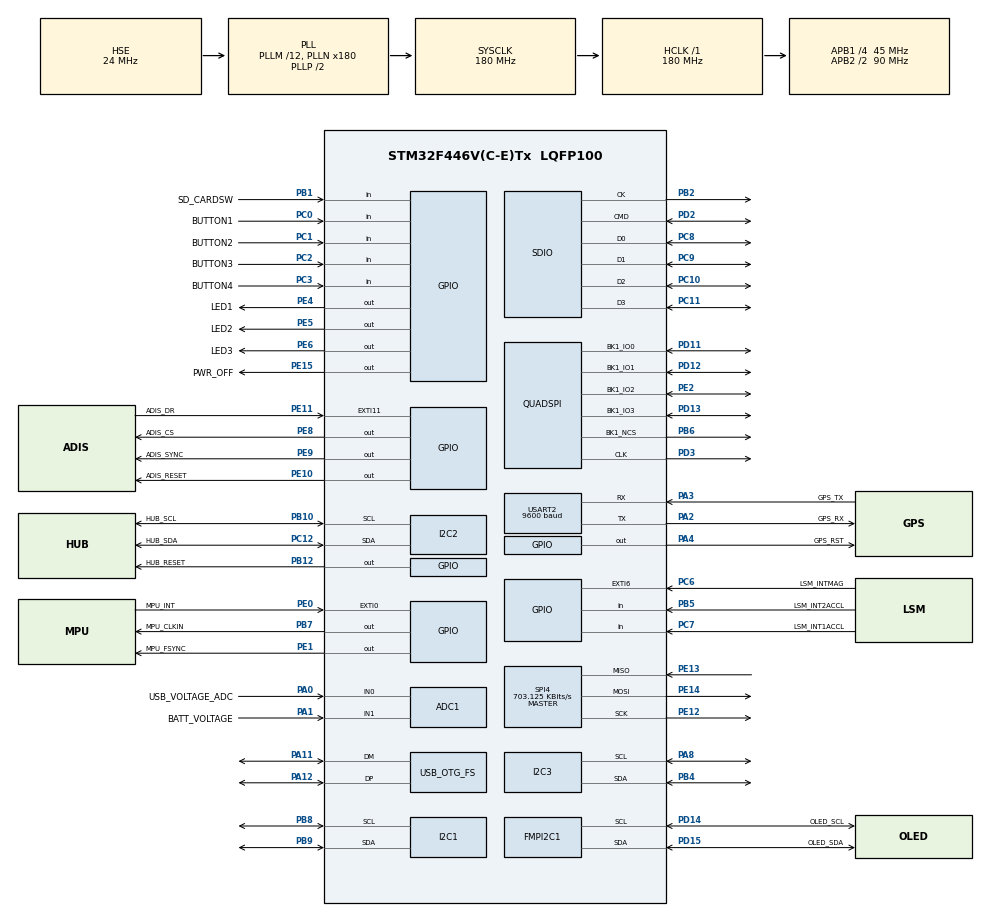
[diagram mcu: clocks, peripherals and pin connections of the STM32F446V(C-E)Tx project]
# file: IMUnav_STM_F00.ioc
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ADC1.Channel-0\#ChannelRegularConversion=ADC_CHANNEL_0
ADC1.Channel-1\#ChannelRegularConversion=ADC_CHANNEL_1
ADC1.Channel-2\#ChannelRegularConversion=ADC_CHANNEL_TEMPSENSOR
ADC1.Channel-3\#ChannelRegularConversion=ADC_CHANNEL_VREFINT
ADC1.ClockPrescaler=ADC_CLOCK_SYNC_PCLK_DIV8
ADC1.ContinuousConvMode=DISABLE
ADC1.DMAContinuousRequests=ENABLE
ADC1.EOCSelection=ADC_EOC_SEQ_CONV
ADC1.InjNumberOfConversion=0
ADC1.NbrOfConversion=4
ADC1.NbrOfConversionFlag=1
ADC1.Rank-0\#ChannelRegularConversion=1
ADC1.Rank-1\#ChannelRegularConversion=2
ADC1.Rank-2\#ChannelRegularConversion=3
ADC1.Rank-3\#ChannelRegularConversion=4
ADC1.SamplingTime-0\#ChannelRegularConversion=ADC_SAMPLETIME_112CYCLES
ADC1.SamplingTime-1\#ChannelRegularConversion=ADC_SAMPLETIME_112CYCLES
ADC1.SamplingTime-2\#ChannelRegularConversion=ADC_SAMPLETIME_112CYCLES
ADC1.SamplingTime-3\#ChannelRegularConversion=ADC_SAMPLETIME_112CYCLES
ADC1.master=1
Dma.ADC1.0.Direction=DMA_PERIPH_TO_MEMORY
Dma.ADC1.0.FIFOMode=DMA_FIFOMODE_DISABLE
Dma.ADC1.0.Instance=DMA2_Stream4
Dma.ADC1.0.MemDataAlignment=DMA_MDATAALIGN_HALFWORD
Dma.ADC1.0.MemInc=DMA_MINC_ENABLE
Dma.ADC1.0.Mode=DMA_NORMAL
Dma.ADC1.0.PeriphDataAlignment=DMA_PDATAALIGN_HALFWORD
Dma.ADC1.0.PeriphInc=DMA_PINC_DISABLE
Dma.ADC1.0.Priority=DMA_PRIORITY_LOW
Dma.I2C1_RX.9.Direction=DMA_PERIPH_TO_MEMORY
Dma.I2C1_RX.9.FIFOMode=DMA_FIFOMODE_DISABLE
Dma.I2C1_RX.9.Instance=DMA1_Stream0
Dma.I2C1_RX.9.MemDataAlignment=DMA_MDATAALIGN_BYTE
Dma.I2C1_RX.9.MemInc=DMA_MINC_ENABLE
Dma.I2C1_RX.9.Mode=DMA_NORMAL
Dma.I2C1_RX.9.PeriphDataAlignment=DMA_PDATAALIGN_BYTE
Dma.I2C1_RX.9.PeriphInc=DMA_PINC_DISABLE
Dma.I2C1_RX.9.Priority=DMA_PRIORITY_LOW
Dma.I2C1_TX.10.Direction=DMA_MEMORY_TO_PERIPH
Dma.I2C1_TX.10.FIFOMode=DMA_FIFOMODE_DISABLE
Dma.I2C1_TX.10.Instance=DMA1_Stream7
Dma.I2C1_TX.10.MemDataAlignment=DMA_MDATAALIGN_BYTE
Dma.I2C1_TX.10.MemInc=DMA_MINC_ENABLE
Dma.I2C1_TX.10.Mode=DMA_NORMAL
Dma.I2C1_TX.10.PeriphDataAlignment=DMA_PDATAALIGN_BYTE
Dma.I2C1_TX.10.PeriphInc=DMA_PINC_DISABLE
Dma.I2C1_TX.10.Priority=DMA_PRIORITY_LOW
Dma.I2C3_RX.3.Direction=DMA_PERIPH_TO_MEMORY
Dma.I2C3_RX.3.FIFOMode=DMA_FIFOMODE_DISABLE
Dma.I2C3_RX.3.Instance=DMA1_Stream1
Dma.I2C3_RX.3.MemDataAlignment=DMA_MDATAALIGN_BYTE
Dma.I2C3_RX.3.MemInc=DMA_MINC_ENABLE
Dma.I2C3_RX.3.Mode=DMA_NORMAL
Dma.I2C3_RX.3.PeriphDataAlignment=DMA_PDATAALIGN_BYTE
Dma.I2C3_RX.3.PeriphInc=DMA_PINC_DISABLE
Dma.I2C3_RX.3.Priority=DMA_PRIORITY_LOW
Dma.I2C3_TX.4.Direction=DMA_MEMORY_TO_PERIPH
Dma.I2C3_TX.4.FIFOMode=DMA_FIFOMODE_DISABLE
Dma.I2C3_TX.4.Instance=DMA1_Stream4
Dma.I2C3_TX.4.MemDataAlignment=DMA_MDATAALIGN_BYTE
Dma.I2C3_TX.4.MemInc=DMA_MINC_ENABLE
Dma.I2C3_TX.4.Mode=DMA_NORMAL
Dma.I2C3_TX.4.PeriphDataAlignment=DMA_PDATAALIGN_BYTE
Dma.I2C3_TX.4.PeriphInc=DMA_PINC_DISABLE
Dma.I2C3_TX.4.Priority=DMA_PRIORITY_LOW
Dma.Request0=ADC1
Dma.Request1=SPI4_RX
Dma.Request10=I2C1_TX
Dma.Request2=SPI4_TX
Dma.Request3=I2C3_RX
Dma.Request4=I2C3_TX
Dma.Request5=SDIO_RX
Dma.Request6=SDIO_TX
Dma.Request7=USART2_RX
Dma.Request8=USART2_TX
Dma.Request9=I2C1_RX
Dma.SDIO_RX.5.Direction=DMA_PERIPH_TO_MEMORY
Dma.SDIO_RX.5.FIFOMode=DMA_FIFOMODE_ENABLE
Dma.SDIO_RX.5.FIFOThreshold=DMA_FIFO_THRESHOLD_FULL
Dma.SDIO_RX.5.Instance=DMA2_Stream6
Dma.SDIO_RX.5.MemBurst=DMA_MBURST_INC4
Dma.SDIO_RX.5.MemDataAlignment=DMA_MDATAALIGN_WORD
Dma.SDIO_RX.5.MemInc=DMA_MINC_ENABLE
Dma.SDIO_RX.5.Mode=DMA_PFCTRL
Dma.SDIO_RX.5.PeriphBurst=DMA_PBURST_INC4
Dma.SDIO_RX.5.PeriphDataAlignment=DMA_PDATAALIGN_WORD
Dma.SDIO_RX.5.PeriphInc=DMA_PINC_DISABLE
Dma.SDIO_RX.5.Priority=DMA_PRIORITY_MEDIUM
Dma.SDIO_TX.6.Direction=DMA_MEMORY_TO_PERIPH
Dma.SDIO_TX.6.FIFOMode=DMA_FIFOMODE_ENABLE
Dma.SDIO_TX.6.FIFOThreshold=DMA_FIFO_THRESHOLD_FULL
Dma.SDIO_TX.6.Instance=DMA2_Stream3
Dma.SDIO_TX.6.MemBurst=DMA_MBURST_INC4
Dma.SDIO_TX.6.MemDataAlignment=DMA_MDATAALIGN_WORD
Dma.SDIO_TX.6.MemInc=DMA_MINC_ENABLE
Dma.SDIO_TX.6.Mode=DMA_PFCTRL
Dma.SDIO_TX.6.PeriphBurst=DMA_PBURST_INC4
Dma.SDIO_TX.6.PeriphDataAlignment=DMA_PDATAALIGN_WORD
Dma.SDIO_TX.6.PeriphInc=DMA_PINC_DISABLE
Dma.SDIO_TX.6.Priority=DMA_PRIORITY_MEDIUM
Dma.SPI4_RX.1.Direction=DMA_PERIPH_TO_MEMORY
Dma.SPI4_RX.1.FIFOMode=DMA_FIFOMODE_DISABLE
Dma.SPI4_RX.1.Instance=DMA2_Stream0
Dma.SPI4_RX.1.MemDataAlignment=DMA_MDATAALIGN_HALFWORD
Dma.SPI4_RX.1.MemInc=DMA_MINC_ENABLE
Dma.SPI4_RX.1.Mode=DMA_NORMAL
Dma.SPI4_RX.1.PeriphDataAlignment=DMA_PDATAALIGN_HALFWORD
Dma.SPI4_RX.1.PeriphInc=DMA_PINC_DISABLE
Dma.SPI4_RX.1.Priority=DMA_PRIORITY_LOW
Dma.SPI4_TX.2.Direction=DMA_MEMORY_TO_PERIPH
Dma.SPI4_TX.2.FIFOMode=DMA_FIFOMODE_DISABLE
Dma.SPI4_TX.2.Instance=DMA2_Stream1
Dma.SPI4_TX.2.MemDataAlignment=DMA_MDATAALIGN_HALFWORD
Dma.SPI4_TX.2.MemInc=DMA_MINC_ENABLE
Dma.SPI4_TX.2.Mode=DMA_NORMAL
Dma.SPI4_TX.2.PeriphDataAlignment=DMA_PDATAALIGN_HALFWORD
Dma.SPI4_TX.2.PeriphInc=DMA_PINC_DISABLE
Dma.SPI4_TX.2.Priority=DMA_PRIORITY_LOW
Dma.USART2_RX.7.Direction=DMA_PERIPH_TO_MEMORY
Dma.USART2_RX.7.FIFOMode=DMA_FIFOMODE_DISABLE
Dma.USART2_RX.7.Instance=DMA1_Stream5
Dma.USART2_RX.7.MemDataAlignment=DMA_MDATAALIGN_BYTE
Dma.USART2_RX.7.MemInc=DMA_MINC_ENABLE
Dma.USART2_RX.7.Mode=DMA_NORMAL
Dma.USART2_RX.7.PeriphDataAlignment=DMA_PDATAALIGN_BYTE
Dma.USART2_RX.7.PeriphInc=DMA_PINC_DISABLE
Dma.USART2_RX.7.Priority=DMA_PRIORITY_LOW
Dma.USART2_TX.8.Direction=DMA_MEMORY_TO_PERIPH
Dma.USART2_TX.8.FIFOMode=DMA_FIFOMODE_DISABLE
Dma.USART2_TX.8.Instance=DMA1_Stream6
Dma.USART2_TX.8.MemDataAlignment=DMA_MDATAALIGN_BYTE
Dma.USART2_TX.8.MemInc=DMA_MINC_ENABLE
Dma.USART2_TX.8.Mode=DMA_NORMAL
Dma.USART2_TX.8.PeriphDataAlignment=DMA_PDATAALIGN_BYTE
Dma.USART2_TX.8.PeriphInc=DMA_PINC_DISABLE
Dma.USART2_TX.8.Priority=DMA_PRIORITY_LOW
FATFS.BSP.number=1
FATFS0.BSP.STBoard=false
FATFS0.BSP.api=Unknown
FATFS0.BSP.instance=PB1
FATFS0.BSP.ip=GPIO
FATFS0.BSP.mode=Input
FATFS0.BSP.name=Detect_SDIO
FATFS0.BSP.solution=PB1
FMPI2C1.FMPI2C_Speed_Mode=FMPI2C_Fast_Plus
FMPI2C1.Timing=0x0020081B
FREERTOS.HEAP_NUMBER=4
FREERTOS.Queues01=adisQ,4,adisDataStruc,0,Dynamic,NULL,NULL;lsmQ,4,lsmDataStruc,0,Dynamic,NULL,NULL;loggerQ,10,loggerStruc,0,Dynamic,NULL,NULL;mpuQ,4,mpuDataStruc,0,Dynamic,NULL,NULL;gnssQ,16,gnssLoggedDataStruc,0,Dynamic,NULL,NULL
FREERTOS.Tasks01=defaultTask,24,128,StartDefaultTask,Default,NULL,Dynamic,NULL,NULL;keepaliveTask,8,1280,StartKeepaliveTask,Default,NULL,Dynamic,NULL,NULL;hubTask,9,128,StartHubTask,Default,NULL,Dynamic,NULL,NULL;gpsTask,16,256,StartGpsTask,Default,NULL,Dynamic,NULL,NULL;oledTask,24,1024,StartOledTask,Default,NULL,Dynamic,NULL,NULL;powerTask,10,256,StartPowerTask,Default,NULL,Dynamic,NULL,NULL;adisTask,51,256,StartAdisTask,Default,NULL,Dynamic,NULL,NULL;lsmTask,50,256,StartLsmTask,Default,NULL,Dynamic,NULL,NULL;loggerTask,26,512,StartLoggerTask,Default,NULL,Dynamic,NULL,NULL;mpuTask,49,512,StartMpuTask,Default,NULL,Dynamic,NULL,NULL
FREERTOS.configENABLE_FPU=1
FREERTOS.configGENERATE_RUN_TIME_STATS=1
FREERTOS.configRECORD_STACK_HIGH_ADDRESS=1
FREERTOS.configTOTAL_HEAP_SIZE=40000
FREERTOS.configUSE_NEWLIB_REENTRANT=1
FREERTOS.configUSE_STATS_FORMATTING_FUNCTIONS=1
I2C1.I2C_Mode=I2C_Fast
I2C3.I2C_Mode=I2C_Standard
Mcu.Family=STM32F4
Mcu.Name=STM32F446V(C-E)Tx
Mcu.Package=LQFP100
Mcu.UserConstants=adisSPI,$$_SPI4_IP_HANDLE_$$;oledI2C,$$_FMPI2C1_IP_HANDLE_$$;hubI2C,$$_I2C2_IP_HANDLE_$$;analogADC,$$_ADC1_IP_HANDLE_$$;gpsUART,$$_USART2_IP_HANDLE_$$;lsmI2C,$$_I2C3_IP_HANDLE_$$;mpuI2C,hi2c1
NVIC.ADC_IRQn=true\:5\:0\:false\:false\:true\:true\:true\:true\:true
NVIC.DMA1_Stream0_IRQn=true\:5\:0\:false\:false\:true\:true\:false\:true\:true
NVIC.DMA1_Stream1_IRQn=true\:5\:0\:false\:false\:true\:true\:false\:true\:true
NVIC.DMA1_Stream4_IRQn=true\:5\:0\:false\:false\:true\:true\:false\:true\:true
NVIC.DMA1_Stream5_IRQn=true\:5\:0\:false\:false\:true\:true\:false\:true\:true
NVIC.DMA1_Stream6_IRQn=true\:5\:0\:false\:false\:true\:true\:false\:true\:true
NVIC.DMA1_Stream7_IRQn=true\:5\:0\:false\:false\:true\:true\:false\:true\:true
NVIC.DMA2_Stream0_IRQn=true\:5\:0\:false\:false\:true\:true\:false\:true\:true
NVIC.DMA2_Stream1_IRQn=true\:5\:0\:false\:false\:true\:true\:false\:true\:true
NVIC.DMA2_Stream3_IRQn=true\:5\:0\:false\:false\:true\:true\:false\:true\:true
NVIC.DMA2_Stream4_IRQn=true\:5\:0\:false\:false\:true\:true\:false\:true\:true
NVIC.DMA2_Stream6_IRQn=true\:5\:0\:false\:false\:true\:true\:false\:true\:true
NVIC.EXTI0_IRQn=true\:5\:0\:false\:false\:true\:true\:true\:true\:true
NVIC.EXTI15_10_IRQn=true\:5\:0\:false\:false\:true\:true\:true\:true\:true
NVIC.EXTI9_5_IRQn=true\:5\:0\:false\:false\:true\:true\:true\:true\:true
NVIC.FMPI2C1_ER_IRQn=true\:5\:0\:false\:false\:true\:true\:true\:true\:true
NVIC.FMPI2C1_EV_IRQn=true\:5\:0\:false\:false\:true\:true\:true\:true\:true
NVIC.I2C1_EV_IRQn=true\:5\:0\:false\:false\:true\:true\:true\:true\:true
NVIC.I2C2_EV_IRQn=true\:5\:0\:false\:false\:true\:true\:true\:true\:true
NVIC.I2C3_EV_IRQn=true\:5\:0\:false\:false\:true\:true\:true\:true\:true
NVIC.OTG_FS_IRQn=true\:5\:0\:false\:false\:true\:true\:false\:true\:true
NVIC.PriorityGroup=NVIC_PRIORITYGROUP_4
NVIC.SDIO_IRQn=true\:5\:0\:true\:false\:true\:true\:true\:true\:true
NVIC.SPI4_IRQn=true\:5\:0\:false\:false\:true\:true\:true\:true\:true
NVIC.TIM1_TRG_COM_TIM11_IRQn=true\:5\:0\:false\:false\:true\:true\:true\:true\:true
NVIC.TIM8_UP_TIM13_IRQn=true\:15\:0\:false\:false\:true\:false\:false\:true\:true
NVIC.TimeBase=TIM8_UP_TIM13_IRQn
NVIC.TimeBaseIP=TIM13
NVIC.USART2_IRQn=true\:5\:0\:false\:false\:true\:true\:true\:true\:true
PA0-WKUP.GPIO_Label=USB_VOLTAGE_ADC
PA0-WKUP.Signal=ADCx_IN0
PA1.GPIO_Label=BATT_VOLTAGE
PA1.Signal=ADCx_IN1
PA11.Mode=Device_Only
PA11.Signal=USB_OTG_FS_DM
PA12.Mode=Device_Only
PA12.Signal=USB_OTG_FS_DP
PA13.Mode=Trace_Asynchronous_SW
PA13.Signal=SYS_JTMS-SWDIO
PA14.Mode=Trace_Asynchronous_SW
PA14.Signal=SYS_JTCK-SWCLK
PA2.GPIO_Label=GPS_RX
PA2.Mode=Asynchronous
PA2.Signal=USART2_TX
PA3.GPIO_Label=GPS_TX
PA3.Mode=Asynchronous
PA3.Signal=USART2_RX
PA4.GPIO_Label=GPS_RST
PA4.Signal=GPIO_Output
PA8.GPIO_Pu=GPIO_PULLUP
PA8.Mode=I2C
PA8.Signal=I2C3_SCL
PB1.GPIO_Label=SD_CARDSW
PB1.GPIO_PuPd=GPIO_PULLUP
PB1.Signal=GPIO_Input
PB10.GPIO_Label=HUB_SCL
PB10.GPIO_Pu=GPIO_NOPULL
PB10.Mode=I2C
PB10.Signal=I2C2_SCL
PB12.GPIO_Label=HUB_RESET
PB12.Signal=GPIO_Output
PB2.Mode=SD_4_bits_Wide_bus
PB2.Signal=SDIO_CK
PB3.Mode=Trace_Asynchronous_SW
PB3.Signal=SYS_JTDO-SWO
PB4.GPIO_Pu=GPIO_PULLUP
PB4.Mode=I2C
PB4.Signal=I2C3_SDA
PB5.GPIO_Label=LSM_INT2ACCL
PB5.Signal=GPIO_Input
PB6.Mode=Single Bank 1
PB6.Signal=QUADSPI_BK1_NCS
PB7.GPIO_Label=MPU_CLKIN
PB7.Signal=GPIO_Output
PB8.Mode=I2C
PB8.Signal=I2C1_SCL
PB9.Mode=I2C
PB9.Signal=I2C1_SDA
PC0.GPIO_Label=BUTTON1
PC0.GPIO_PuPd=GPIO_PULLUP
PC0.Signal=GPIO_Input
PC1.GPIO_Label=BUTTON2
PC1.GPIO_PuPd=GPIO_PULLUP
PC1.Signal=GPIO_Input
PC10.Mode=SD_4_bits_Wide_bus
PC10.Signal=SDIO_D2
PC11.Mode=SD_4_bits_Wide_bus
PC11.Signal=SDIO_D3
PC12.GPIO_Label=HUB_SDA
PC12.GPIO_Pu=GPIO_NOPULL
PC12.Mode=I2C
PC12.Signal=I2C2_SDA
PC14-OSC32_IN.Mode=LSE-External-Oscillator
PC14-OSC32_IN.Signal=RCC_OSC32_IN
PC15-OSC32_OUT.Mode=LSE-External-Oscillator
PC15-OSC32_OUT.Signal=RCC_OSC32_OUT
PC2.GPIO_Label=BUTTON3
PC2.GPIO_PuPd=GPIO_PULLUP
PC2.Signal=GPIO_Input
PC3.GPIO_Label=BUTTON4
PC3.GPIO_PuPd=GPIO_PULLUP
PC3.Signal=GPIO_Input
PC6.GPIO_Label=LSM_INTMAG
PC6.Signal=GPXTI6
PC7.GPIO_Label=LSM_INT1ACCL
PC7.Signal=GPIO_Input
PC8.Mode=SD_4_bits_Wide_bus
PC8.Signal=SDIO_D0
PC9.Mode=SD_4_bits_Wide_bus
PC9.Signal=SDIO_D1
PD11.Mode=Single Bank 1
PD11.Signal=QUADSPI_BK1_IO0
PD12.Mode=Single Bank 1
PD12.Signal=QUADSPI_BK1_IO1
PD13.Mode=Single Bank 1
PD13.Signal=QUADSPI_BK1_IO3
PD14.GPIO_Label=OLED_SCL
PD14.Mode=I2C
PD14.Signal=FMPI2C1_SCL
PD15.GPIO_Label=OLED_SDA
PD15.Mode=I2C
PD15.Signal=FMPI2C1_SDA
PD2.Mode=SD_4_bits_Wide_bus
PD2.Signal=SDIO_CMD
PD3.Mode=Single Bank 1
PD3.Signal=QUADSPI_CLK
PE0.GPIO_Label=MPU_INT
PE0.Signal=GPXTI0
PE1.GPIO_Label=MPU_FSYNC
PE1.Signal=GPIO_Output
PE10.GPIO_Label=ADIS_RESET
PE10.Signal=GPIO_Output
PE11.GPIO_Label=ADIS_DR
PE11.Signal=GPXTI11
PE12.Mode=Full_Duplex_Master
PE12.Signal=SPI4_SCK
PE13.Mode=Full_Duplex_Master
PE13.Signal=SPI4_MISO
PE14.Mode=Full_Duplex_Master
PE14.Signal=SPI4_MOSI
PE15.GPIO_Label=PWR_OFF
PE15.Signal=GPIO_Output
PE2.Mode=Single Bank 1
PE2.Signal=QUADSPI_BK1_IO2
PE4.GPIO_Label=LED1
PE4.Signal=GPIO_Output
PE5.GPIO_Label=LED2
PE5.Signal=GPIO_Output
PE6.GPIO_Label=LED3
PE6.Signal=GPIO_Output
PE8.GPIO_Label=ADIS_CS
PE8.Signal=GPIO_Output
PE9.GPIO_Label=ADIS_SYNC
PE9.Signal=GPIO_Output
PH0-OSC_IN.Mode=HSE-External-Clock-Source
PH0-OSC_IN.Signal=RCC_OSC_IN
PH1-OSC_OUT.Mode=HSE-External-Clock-Source
PH1-OSC_OUT.Signal=RCC_OSC_OUT
ProjectManager.HeapSize=0x400
ProjectManager.StackSize=0x800
ProjectManager.TargetToolchain=STM32CubeIDE
QUADSPI.ChipSelectHighTime=QSPI_CS_HIGH_TIME_6_CYCLE
QUADSPI.ClockPrescaler=3
QUADSPI.FifoThreshold=4
QUADSPI.FlashSize=24
QUADSPI.SampleShifting=QSPI_SAMPLE_SHIFTING_HALFCYCLE
RCC.AHBFreq_Value=180000000
RCC.APB1CLKDivider=RCC_HCLK_DIV4
RCC.APB1Freq_Value=45000000
RCC.APB1TimFreq_Value=90000000
RCC.APB2CLKDivider=RCC_HCLK_DIV2
RCC.APB2Freq_Value=90000000
RCC.APB2TimFreq_Value=180000000
RCC.CortexFreq_Value=180000000
RCC.HCLKFreq_Value=180000000
RCC.HSE_VALUE=24000000
RCC.PLLM=12
RCC.PLLN=180
RCC.PLLQ=8
RCC.PLLSAIP=RCC_PLLSAIP_DIV6
RCC.RCC_RTC_Clock_SourceVirtual=RCC_RTCCLKSOURCE_LSE
RCC.SYSCLKFreq_VALUE=180000000
RCC.SYSCLKSource=RCC_SYSCLKSOURCE_PLLCLK
RCC.USBCLockSelection=RCC_CLK48CLKSOURCE_PLLSAIP
RCC.USBFreq_Value=48000000
RCC.VCOOutputFreq_Value=360000000
RTC.Format=RTC_FORMAT_BIN
RTC.StoreOperation=RTC_STOREOPERATION_RESET
RTC.SynchPrediv=255
SDIO.ClockDiv=0
SDIO.HardwareFlowControl=SDIO_HARDWARE_FLOW_CONTROL_ENABLE
SH.ADCx_IN0.0=ADC1_IN0,IN0
SH.ADCx_IN1.0=ADC1_IN1,IN1
SPI4.BaudRatePrescaler=SPI_BAUDRATEPRESCALER_128
SPI4.CLKPhase=SPI_PHASE_2EDGE
SPI4.CLKPolarity=SPI_POLARITY_HIGH
SPI4.CalculateBaudRate=703.125 KBits/s
SPI4.DataSize=SPI_DATASIZE_16BIT
SPI4.Direction=SPI_DIRECTION_2LINES
SPI4.Mode=SPI_MODE_MASTER
SPI4.VirtualType=VM_MASTER
TIM11.Prescaler=1800
USART2.BaudRate=9600
USART2.VirtualMode=VM_ASYNC
USB_DEVICE.CLASS_NAME_FS=MSC
USB_DEVICE.VirtualMode-MSC_FS=Msc
USB_DEVICE.VirtualModeFS=Msc_FS
USB_OTG_FS.VirtualMode=Device_Only
VP_ADC1_TempSens_Input.Mode=IN-TempSens
VP_ADC1_Vref_Input.Mode=IN-Vrefint
VP_FATFS_VS_SDIO.Mode=SDIO
VP_FREERTOS_VS_CMSIS_V2.Mode=CMSIS_V2
VP_RTC_VS_RTC_Activate.Mode=RTC_Enabled
VP_RTC_VS_RTC_Calendar.Mode=RTC_Calendar
VP_SYS_VS_tim13.Mode=TIM13
VP_TIM11_VS_ClockSourceINT.Mode=Enable_Timer
VP_USB_DEVICE_VS_USB_DEVICE_MSC_FS.Mode=MSC_FS
board=custom

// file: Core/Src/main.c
/* USER CODE BEGIN Header */
/**
  ******************************************************************************
  * @file           : main.c
  * @brief          : Main program body
  ******************************************************************************
  * @attention
  *
  * Copyright (c) 2024 STMicroelectronics.
  * All rights reserved.
  *
  * This software is licensed under terms that can be found in the LICENSE file
  * in the root directory of this software component.
  * If no LICENSE file comes with this software, it is provided AS-IS.
  *
  ******************************************************************************
  */
/* USER CODE END Header */
#include "main.h"
#include "cmsis_os.h"
#include "adc.h"
#include "dma.h"
#include "fatfs.h"
#include "fmpi2c.h"
#include "i2c.h"
#include "quadspi.h"
#include "rtc.h"
#include "sdio.h"
#include "spi.h"
#include "tim.h"
#include "usart.h"
#include "gpio.h"

void SystemClock_Config(void);
void PeriphCommonClock_Config(void);
void MX_FREERTOS_Init(void);

int main(void)
{

  /* MCU Configuration--------------------------------------------------------*/

  /* Reset of all peripherals, Initializes the Flash interface and the Systick. */
  HAL_Init();

  /* Configure the system clock */
  SystemClock_Config();

/* Configure the peripherals common clocks */
  PeriphCommonClock_Config();

  /* Initialize all configured peripherals */
  MX_GPIO_Init();
  MX_DMA_Init();
  MX_ADC1_Init();
  MX_I2C2_Init();
  MX_USART2_UART_Init();
  MX_FMPI2C1_Init();
  MX_QUADSPI_Init();
  MX_SPI4_Init();
  MX_I2C3_Init();
  MX_SDIO_SD_Init();
  MX_FATFS_Init();
  MX_I2C1_Init();
  MX_RTC_Init();
  MX_TIM11_Init();

  /* Init scheduler */
  osKernelInitialize();

  /* Call init function for freertos objects (in freertos.c) */
  MX_FREERTOS_Init();

  /* Start scheduler */
  osKernelStart();

  /* We should never get here as control is now taken by the scheduler */
  /* Infinite loop */
  while (1)
  {

  }
}

void SystemClock_Config(void)
{
  RCC_OscInitTypeDef RCC_OscInitStruct = {0};
  RCC_ClkInitTypeDef RCC_ClkInitStruct = {0};

  /** Configure the main internal regulator output voltage
  */
  __HAL_RCC_PWR_CLK_ENABLE();
  __HAL_PWR_VOLTAGESCALING_CONFIG(PWR_REGULATOR_VOLTAGE_SCALE1);

  /** Initializes the RCC Oscillators according to the specified parameters
  * in the RCC_OscInitTypeDef structure.
  */
  RCC_OscInitStruct.OscillatorType = RCC_OSCILLATORTYPE_HSE|RCC_OSCILLATORTYPE_LSE;
  RCC_OscInitStruct.HSEState = RCC_HSE_BYPASS;
  RCC_OscInitStruct.LSEState = RCC_LSE_ON;
  RCC_OscInitStruct.PLL.PLLState = RCC_PLL_ON;
  RCC_OscInitStruct.PLL.PLLSource = RCC_PLLSOURCE_HSE;
  RCC_OscInitStruct.PLL.PLLM = 12;
  RCC_OscInitStruct.PLL.PLLN = 180;
  RCC_OscInitStruct.PLL.PLLP = RCC_PLLP_DIV2;
  RCC_OscInitStruct.PLL.PLLQ = 8;
  RCC_OscInitStruct.PLL.PLLR = 2;
  if (HAL_RCC_OscConfig(&RCC_OscInitStruct) != HAL_OK)
  {
    Error_Handler();
  }

  /** Activate the Over-Drive mode
  */
  if (HAL_PWREx_EnableOverDrive() != HAL_OK)
  {
    Error_Handler();
  }

  /** Initializes the CPU, AHB and APB buses clocks
  */
  RCC_ClkInitStruct.ClockType = RCC_CLOCKTYPE_HCLK|RCC_CLOCKTYPE_SYSCLK
                              |RCC_CLOCKTYPE_PCLK1|RCC_CLOCKTYPE_PCLK2;
  RCC_ClkInitStruct.SYSCLKSource = RCC_SYSCLKSOURCE_PLLCLK;
  RCC_ClkInitStruct.AHBCLKDivider = RCC_SYSCLK_DIV1;
  RCC_ClkInitStruct.APB1CLKDivider = RCC_HCLK_DIV4;
  RCC_ClkInitStruct.APB2CLKDivider = RCC_HCLK_DIV2;

  if (HAL_RCC_ClockConfig(&RCC_ClkInitStruct, FLASH_LATENCY_5) != HAL_OK)
  {
    Error_Handler();
  }
}

void PeriphCommonClock_Config(void)
{
  RCC_PeriphCLKInitTypeDef PeriphClkInitStruct = {0};

  /** Initializes the peripherals clock
  */
  PeriphClkInitStruct.PeriphClockSelection = RCC_PERIPHCLK_SDIO|RCC_PERIPHCLK_CLK48;
  PeriphClkInitStruct.PLLSAI.PLLSAIM = 16;
  PeriphClkInitStruct.PLLSAI.PLLSAIN = 192;
  PeriphClkInitStruct.PLLSAI.PLLSAIQ = 2;
  PeriphClkInitStruct.PLLSAI.PLLSAIP = RCC_PLLSAIP_DIV6;
  PeriphClkInitStruct.PLLSAIDivQ = 1;
  PeriphClkInitStruct.Clk48ClockSelection = RCC_CLK48CLKSOURCE_PLLSAIP;
  PeriphClkInitStruct.SdioClockSelection = RCC_SDIOCLKSOURCE_CLK48;
  if (HAL_RCCEx_PeriphCLKConfig(&PeriphClkInitStruct) != HAL_OK)
  {
    Error_Handler();
  }
}

void HAL_TIM_PeriodElapsedCallback(TIM_HandleTypeDef *htim)
{
  if (htim->Instance == TIM13) {
    HAL_IncTick();
  }
}

void Error_Handler(void)
{
  __disable_irq();
  while (1)
  {
  }
}

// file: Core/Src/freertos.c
/* USER CODE BEGIN Header */
/**
  ******************************************************************************
  * File Name          : freertos.c
  * Description        : Code for freertos applications
  ******************************************************************************
  * @attention
  *
  * Copyright (c) 2024 STMicroelectronics.
  * All rights reserved.
  *
  * This software is licensed under terms that can be found in the LICENSE file
  * in the root directory of this software component.
  * If no LICENSE file comes with this software, it is provided AS-IS.
  *
  ******************************************************************************
  */
/* USER CODE END Header */

#include "FreeRTOS.h"
#include "task.h"
#include "main.h"
#include "cmsis_os.h"

/* USER CODE BEGIN Includes */
#include "i2c.h"
#include "ssd1306.h"
#include "ssd1306_tests.h"
#include "w25q_mem.h"
#include "spi.h"
#include "adis.h"
#include "ssd1306_fonts.h"
#include "lsm.h"
#include "fatfs.h"
#include "GNSS.h"
#include "usart.h"
#include <stdio.h>
#include <stdlib.h>
#include "mpu.h"
#include "usb_device.h"
#include "gui.h"
#include "rtc.h"
#include "tim.h"
#include "usbd_core.h"
#include "usbd_msc.h"

/* USER CODE END Includes */

/* USER CODE BEGIN Variables */
guiInfoStruc guiInfo = {0};
/* USER CODE END Variables */
/* Definitions for defaultTask */
osThreadId_t defaultTaskHandle;
const osThreadAttr_t defaultTask_attributes = {
  .name = "defaultTask",
  .stack_size = 128 * 4,
  .priority = (osPriority_t) osPriorityNormal,
};
/* Definitions for keepaliveTask */
osThreadId_t keepaliveTaskHandle;
const osThreadAttr_t keepaliveTask_attributes = {
  .name = "keepaliveTask",
  .stack_size = 1280 * 4,
  .priority = (osPriority_t) osPriorityLow,
};
/* Definitions for hubTask */
osThreadId_t hubTaskHandle;
const osThreadAttr_t hubTask_attributes = {
  .name = "hubTask",
  .stack_size = 128 * 4,
  .priority = (osPriority_t) osPriorityLow1,
};
/* Definitions for gpsTask */
osThreadId_t gpsTaskHandle;
const osThreadAttr_t gpsTask_attributes = {
  .name = "gpsTask",
  .stack_size = 256 * 4,
  .priority = (osPriority_t) osPriorityBelowNormal,
};
/* Definitions for oledTask */
osThreadId_t oledTaskHandle;
const osThreadAttr_t oledTask_attributes = {
  .name = "oledTask",
  .stack_size = 1024 * 4,
  .priority = (osPriority_t) osPriorityNormal,
};
/* Definitions for powerTask */
osThreadId_t powerTaskHandle;
const osThreadAttr_t powerTask_attributes = {
  .name = "powerTask",
  .stack_size = 256 * 4,
  .priority = (osPriority_t) osPriorityLow2,
};
/* Definitions for adisTask */
osThreadId_t adisTaskHandle;
const osThreadAttr_t adisTask_attributes = {
  .name = "adisTask",
  .stack_size = 256 * 4,
  .priority = (osPriority_t) osPriorityRealtime3,
};
/* Definitions for lsmTask */
osThreadId_t lsmTaskHandle;
const osThreadAttr_t lsmTask_attributes = {
  .name = "lsmTask",
  .stack_size = 256 * 4,
  .priority = (osPriority_t) osPriorityRealtime2,
};
/* Definitions for loggerTask */
osThreadId_t loggerTaskHandle;
const osThreadAttr_t loggerTask_attributes = {
  .name = "loggerTask",
  .stack_size = 512 * 4,
  .priority = (osPriority_t) osPriorityNormal2,
};
/* Definitions for mpuTask */
osThreadId_t mpuTaskHandle;
const osThreadAttr_t mpuTask_attributes = {
  .name = "mpuTask",
  .stack_size = 512 * 4,
  .priority = (osPriority_t) osPriorityRealtime1,
};
/* Definitions for adisQ */
osMessageQueueId_t adisQHandle;
const osMessageQueueAttr_t adisQ_attributes = {
  .name = "adisQ"
};
/* Definitions for lsmQ */
osMessageQueueId_t lsmQHandle;
const osMessageQueueAttr_t lsmQ_attributes = {
  .name = "lsmQ"
};
/* Definitions for loggerQ */
osMessageQueueId_t loggerQHandle;
const osMessageQueueAttr_t loggerQ_attributes = {
  .name = "loggerQ"
};
/* Definitions for mpuQ */
osMessageQueueId_t mpuQHandle;
const osMessageQueueAttr_t mpuQ_attributes = {
  .name = "mpuQ"
};
/* Definitions for gnssQ */
osMessageQueueId_t gnssQHandle;
const osMessageQueueAttr_t gnssQ_attributes = {
  .name = "gnssQ"
};

void StartDefaultTask(void *argument);
void StartKeepaliveTask(void *argument);
void StartHubTask(void *argument);
void StartGpsTask(void *argument);
void StartOledTask(void *argument);
void StartPowerTask(void *argument);
void StartAdisTask(void *argument);
void StartLsmTask(void *argument);
void StartLoggerTask(void *argument);
void StartMpuTask(void *argument);

void MX_FREERTOS_Init(void); /* (MISRA C 2004 rule 8.1) */

/* Hook prototypes */
void configureTimerForRunTimeStats(void);
unsigned long getRunTimeCounterValue(void);

/* USER CODE BEGIN 1 */
/* Functions needed when configGENERATE_RUN_TIME_STATS is on */
__weak void configureTimerForRunTimeStats(void)
{
	HAL_TIM_Base_Start_IT(&htim11);
}

extern volatile unsigned long ulHighFrequencyTimerTicks;
__weak unsigned long getRunTimeCounterValue(void)
{
return ulHighFrequencyTimerTicks;
}
/* USER CODE END 1 */

void MX_FREERTOS_Init(void) {

  /* Create the queue(s) */
  /* creation of adisQ */
  adisQHandle = osMessageQueueNew (4, sizeof(adisDataStruc), &adisQ_attributes);

  /* creation of lsmQ */
  lsmQHandle = osMessageQueueNew (4, sizeof(lsmDataStruc), &lsmQ_attributes);

  /* creation of loggerQ */
  loggerQHandle = osMessageQueueNew (10, sizeof(loggerStruc), &loggerQ_attributes);

  /* creation of mpuQ */
  mpuQHandle = osMessageQueueNew (4, sizeof(mpuDataStruc), &mpuQ_attributes);

  /* creation of gnssQ */
  gnssQHandle = osMessageQueueNew (16, sizeof(gnssLoggedDataStruc), &gnssQ_attributes);

  /* Create the thread(s) */
  /* creation of defaultTask */
  defaultTaskHandle = osThreadNew(StartDefaultTask, NULL, &defaultTask_attributes);

  /* creation of keepaliveTask */
  keepaliveTaskHandle = osThreadNew(StartKeepaliveTask, NULL, &keepaliveTask_attributes);

  /* creation of hubTask */
  hubTaskHandle = osThreadNew(StartHubTask, NULL, &hubTask_attributes);

  /* creation of gpsTask */
  gpsTaskHandle = osThreadNew(StartGpsTask, NULL, &gpsTask_attributes);

  /* creation of oledTask */
  oledTaskHandle = osThreadNew(StartOledTask, NULL, &oledTask_attributes);

  /* creation of powerTask */
  powerTaskHandle = osThreadNew(StartPowerTask, NULL, &powerTask_attributes);

  /* creation of adisTask */
  adisTaskHandle = osThreadNew(StartAdisTask, NULL, &adisTask_attributes);

  /* creation of lsmTask */
  lsmTaskHandle = osThreadNew(StartLsmTask, NULL, &lsmTask_attributes);

  /* creation of loggerTask */
  loggerTaskHandle = osThreadNew(StartLoggerTask, NULL, &loggerTask_attributes);

  /* creation of mpuTask */
  mpuTaskHandle = osThreadNew(StartMpuTask, NULL, &mpuTask_attributes);

}

void StartDefaultTask(void *argument)
{
  /* USER CODE BEGIN StartDefaultTask */
  /* Infinite loop */
  for(;;)
  {
		osDelay(10);
		guiInfo.buttons[0] = !HAL_GPIO_ReadPin(BUTTON1_GPIO_Port, BUTTON1_Pin);
		guiInfo.buttons[1] = !HAL_GPIO_ReadPin(BUTTON2_GPIO_Port, BUTTON2_Pin);
		guiInfo.buttons[2] = !HAL_GPIO_ReadPin(BUTTON3_GPIO_Port, BUTTON3_Pin);
		guiInfo.buttons[3] = !HAL_GPIO_ReadPin(BUTTON4_GPIO_Port, BUTTON4_Pin);

		osDelay(10);
		RTC_TimeTypeDef sTime;
		RTC_DateTypeDef sDate;
		HAL_RTC_GetTime(&hrtc, &sTime, RTC_FORMAT_BIN);
		HAL_RTC_GetDate(&hrtc, &sDate, RTC_FORMAT_BIN);
		guiInfo.boardStats.sTime = sTime;
		guiInfo.boardStats.sDate = sDate;

  }
  /* USER CODE END StartDefaultTask */
}

void StartKeepaliveTask(void *argument)
{
  /* USER CODE BEGIN StartKeepaliveTask */

  /* Infinite loop */
  for(;;)
  {
	HAL_GPIO_TogglePin(LED1_GPIO_Port, LED1_Pin);
    osDelay(500);
  }
  /* USER CODE END StartKeepaliveTask */
}

/* USER CODE BEGIN Header_StartHubTask */
/**
* @brief Function implementing the hubTask thread.
* @param argument: Not used
* @retval None
*/

#define HUB_ADDRESS 0b0101100<<1
#define FFH_CMD 0b1
/* USER CODE END Header_StartHubTask */
void StartHubTask(void *argument)
{
  /* USER CODE BEGIN StartHubTask */
	HAL_GPIO_WritePin(HUB_RESET_GPIO_Port, HUB_RESET_Pin, 1);
	osDelay(10);
	static uint8_t hubTxBuffer[17] = {16, 0x24, 0x04, 0x14, 0x25, 0xB3, 0x0B, 0x00, 0x00, 0x00, 0b11100, 0b10, 0b10, 0x01, 0x32, 0x32,};
	HAL_I2C_Init(&hubI2C);

	HAL_I2C_Mem_Write(&hubI2C, HUB_ADDRESS, 0x00, 1, hubTxBuffer, 17, 10);

	hubTxBuffer[0] = 1;
	hubTxBuffer[1] = FFH_CMD;
	HAL_I2C_Mem_Write(&hubI2C, HUB_ADDRESS, 0xff, 1, hubTxBuffer, 2, 10);

  /* Infinite loop */
  for(;;)
  {
    osDelay(1);
  }
  /* USER CODE END StartHubTask */
}

/* USER CODE BEGIN Header_StartGpsTask */
#define SYNC_TIME_GPS 1
/**
* @brief Function implementing the gpsTask thread.
* @param argument: Not used
* @retval None
*/
/* USER CODE END Header_StartGpsTask */
void StartGpsTask(void *argument)
{
  /* USER CODE BEGIN StartGpsTask */
	HAL_GPIO_WritePin(GPS_RST_GPIO_Port, GPS_RST_Pin, 1);
	osDelay(3000);

	GNSS_StateHandle GNSS_Handle;
	gnssLoggedDataStruc gnssLoggedData;
	GNSS_Init(&GNSS_Handle, &gpsUART);
	osDelay(1000);
	GNSS_LoadConfig(&GNSS_Handle);
	uint8_t rtcFlag = 0;

  /* Infinite loop */
  for(;;)
	{
		GNSS_GetPVTData(&GNSS_Handle);
		GNSS_ParseBuffer(&GNSS_Handle);
		osDelay(1000);

		gnssLoggedData.year = GNSS_Handle.year;
		gnssLoggedData.month = GNSS_Handle.month;
		gnssLoggedData.day = GNSS_Handle.day;
		gnssLoggedData.hour = GNSS_Handle.hour;
		gnssLoggedData.min = GNSS_Handle.min;
		gnssLoggedData.sec = GNSS_Handle.sec;
		gnssLoggedData.fixType = GNSS_Handle.fixType;
		gnssLoggedData.fLon = GNSS_Handle.fLon;
		gnssLoggedData.fLat = GNSS_Handle.fLat;
		gnssLoggedData.height = GNSS_Handle.height;
		gnssLoggedData.hMSL = GNSS_Handle.hMSL;
		gnssLoggedData.hAcc = GNSS_Handle.hAcc;
		gnssLoggedData.vAcc = GNSS_Handle.vAcc;
		gnssLoggedData.gSpeed = GNSS_Handle.gSpeed;
		gnssLoggedData.headMot = GNSS_Handle.headMot;

		osMessageQueuePut(gnssQHandle,  &gnssLoggedData, 1, osWaitForever);

		guiInfo.gnss = gnssLoggedData;

		if (rtcFlag == 0 && GNSS_Handle.fixType == 3 && SYNC_TIME_GPS)
		{
			//first gps synce after power up, set rtc
			rtcFlag = 1;
			RTC_TimeTypeDef sTime =
			{ 0 };
			RTC_DateTypeDef sDate =
			{ 0 };

			sTime.Hours = GNSS_Handle.hour;
			sTime.Minutes = GNSS_Handle.min;
			sTime.Seconds = GNSS_Handle.sec;
			sTime.DayLightSaving = RTC_DAYLIGHTSAVING_NONE;
			sTime.StoreOperation = RTC_STOREOPERATION_RESET;

			sDate.WeekDay = RTC_WEEKDAY_MONDAY;
			sDate.Month = GNSS_Handle.month;
			sDate.Date = GNSS_Handle.day;
			sDate.Year = GNSS_Handle.year - 2000;

			if (HAL_RTC_SetTime(&hrtc, &sTime, RTC_FORMAT_BIN) != HAL_OK)
			{
				Error_Handler();
			}

			if (HAL_RTC_SetDate(&hrtc, &sDate, RTC_FORMAT_BIN) != HAL_OK)
			{
				Error_Handler();
			}

		}

	}
  /* USER CODE END StartGpsTask */
}

void StartOledTask(void *argument)
{
  /* USER CODE BEGIN StartOledTask */
	ssd1306_Init();
  /* Infinite loop */
  for(;;)
  {

	  guiStateMachine(&guiInfo);

		osDelay(1);

  }
  /* USER CODE END StartOledTask */
}

/* USER CODE BEGIN Header_StartPowerTask */
volatile uint16_t adcDataDMA[4];
#define USB_CHANNEL 0
#define BAT_CHANNEL 1
#define TMP_CHANNEL 2
#define REF_CHANNEL 3
#define ADCIIRCOEFF 0.3

/**
* @brief Function implementing the powerTask thread.
* @param argument: Not used
* @retval None
*/
/* USER CODE END Header_StartPowerTask */
void StartPowerTask(void *argument)
{
  /* USER CODE BEGIN StartPowerTask */
	HAL_ADC_Init(&analogADC);

	float supplyVoltage = 3.3;
	float mcuTemp = 24;
	float battVoltage = 3.7;
	float usbVoltage = 5;
	float battVoltageFilt = 3.7;
	//minimum temperature sensor sampling time 10us, slope 2.5mv/degC, 0.76V at 25degC

  /* Infinite loop */
  for(;;)
  {
	  HAL_ADC_Start_DMA(&analogADC, (uint32_t*) adcDataDMA, 4);
	  osDelay(100);

	  supplyVoltage = *VREFINT_CAL_ADDR * VREFINT_CAL_VREF / adcDataDMA[REF_CHANNEL]/1000.0;
	  mcuTemp = -279.0 + 400.0*(supplyVoltage*adcDataDMA[TMP_CHANNEL]/4095.0);
	  usbVoltage = (supplyVoltage*adcDataDMA[USB_CHANNEL]/4095.0)*(33.0+27.0)/33.0;
	  battVoltage = (supplyVoltage*adcDataDMA[BAT_CHANNEL]/4095.0)*(33.1+27.16)/33.0;

	  battVoltageFilt = ADCIIRCOEFF * battVoltage + (1.0-ADCIIRCOEFF)*battVoltageFilt;

	  if(battVoltageFilt < 3.5) // batttery low voltage
	  {
		  HAL_GPIO_WritePin(PWR_OFF_GPIO_Port, PWR_OFF_Pin, 1);
		  while(1)
		  {
			  //this loop should be entered only for a short while and than powered down

		  }
	  }

	  guiInfo.boardStats.battVoltage = battVoltage;
	  guiInfo.boardStats.battVoltageFilt = battVoltageFilt;
	  guiInfo.boardStats.mcuTemp = mcuTemp;
	  guiInfo.boardStats.supplyVoltage = supplyVoltage;
	  guiInfo.boardStats.usbVoltage = usbVoltage;

  }
  /* USER CODE END StartPowerTask */
}

void StartAdisTask(void *argument)
{
  /* USER CODE BEGIN StartAdisTask */
	adisReset();
	adisInit();
	adisDataStruc adisLog;
	loggerStruc loggerData;

	/* Infinite loop */
  for(;;)
  {
	  adisLog = adisRead();
	  loggerData.adisData = adisLog;
	  guiInfo.adis = adisLog;

		//append LSM data if available
		if (osMessageQueueGetCount(lsmQHandle) > 0)
		{
			osMessageQueueGet(lsmQHandle, &loggerData.lsmData, NULL,
					osWaitForever);
		}
		else
		{
			memset(&loggerData.lsmData, 0, sizeof(loggerData.lsmData));

		}

		//append MPU data if available
		if (osMessageQueueGetCount(mpuQHandle) > 0)
		{
			osMessageQueueGet(mpuQHandle, &loggerData.mpuData, NULL,
			osWaitForever);
		}
		else
		{
			memset(&loggerData.mpuData, 0, sizeof(loggerData.mpuData));

		}

		//append GNSS data if available
		if (osMessageQueueGetCount(gnssQHandle) > 0)
		{
			osMessageQueueGet(gnssQHandle, &loggerData.gnssLoggedData, NULL,
			osWaitForever);
		}
		else
		{
			memset(&loggerData.gnssLoggedData, 0, sizeof(loggerData.gnssLoggedData));

		}

	  osMessageQueuePut(loggerQHandle,  &loggerData, 1, osWaitForever);

  }
  /* USER CODE END StartAdisTask */
}

void StartLsmTask(void *argument)
{
  /* USER CODE BEGIN StartLsmTask */
	lsmDataStruc lsmLog;

	osDelay(1000);
	lsmInit();
	osDelay(100);

  /* Infinite loop */
  for(;;)
  {

	  lsmLog = lsmRead();
	  osMessageQueuePut(lsmQHandle,  &lsmLog, 1, osWaitForever);
	  guiInfo.lsm = lsmLog;

  }
  /* USER CODE END StartLsmTask */
}

/* USER CODE BEGIN Header_StartLoggerTask */
loggerStruc loggerStore[10];
loggerStruc loggerStoreFS;

FRESULT res; /* FatFs function common result code */
uint32_t byteswritten, bytesread; /* File write/read counts */
//uint8_t rtext[_MAX_SS];/* File read buffer */

/**
* @brief Function implementing the loggerTask thread.
* @param argument: Not used
* @retval None
*/
/* USER CODE END Header_StartLoggerTask */
void StartLoggerTask(void *argument)
{
  /* USER CODE BEGIN StartLoggerTask */
	uint8_t loggerState = 0;
	uint8_t prevLoggerState = 0;
	uint8_t buffer[sizeof(loggerStoreFS)];

	extern USBD_HandleTypeDef hUsbDeviceFS;
	MX_USB_DEVICE_Init();

  /* Infinite loop */
  for(;;)
  {
		loggerState = isLoggerOn();

		if (loggerState && !prevLoggerState)
		{
			//logger just turned on
			//deinit usb

			USBD_LL_DeInit(&hUsbDeviceFS);

			if (f_mount(&SDFatFS, (TCHAR const*) SDPath, 0) != FR_OK)
			{
				Error_Handler();
			}
			else
			{

				//Open file for writing (Create)
				if (f_open(&SDFile, "imuData.bin", FA_CREATE_ALWAYS | FA_WRITE)
						!= FR_OK)
				{
					Error_Handler();
				}
				else
				{

				}

			}

		}
		else if (loggerState && prevLoggerState)
		{
			// logging cycle
			osMessageQueueGet(loggerQHandle, &loggerStoreFS, NULL,
					osWaitForever);
			memcpy(buffer, &loggerStoreFS, sizeof(loggerStoreFS));
			f_write(&SDFile, buffer, sizeof(loggerStoreFS),
										(void*) &byteswritten);
		}
		else if (!loggerState && prevLoggerState)
		{
			//logger just turned off
			f_close(&SDFile);
			f_mount(&SDFatFS, (TCHAR const*) NULL, 0);
			USBD_LL_Init(&hUsbDeviceFS);
			MX_USB_DEVICE_Init();
		}
		else
		{
			//turned off logger
			osDelay(1);
			osMessageQueueGet(loggerQHandle, &loggerStore[0], NULL,
			osWaitForever);
		}
		prevLoggerState = loggerState;

  }
  /* USER CODE END StartLoggerTask */
}

void StartMpuTask(void *argument)
{
  /* USER CODE BEGIN StartMpuTask */
	osDelay(100);
	mpuInit();
	osDelay(100);

	mpuDataStruc mpuLog;
  /* Infinite loop */
  for(;;)
  {
	  mpuLog = mpuRead();
	  osMessageQueuePut(mpuQHandle,  &mpuLog, 1, osWaitForever);
	  guiInfo.mpu = mpuLog;

  }
  /* USER CODE END StartMpuTask */
}

/* USER CODE BEGIN Application */
void HAL_GPIO_EXTI_Callback(uint16_t GPIO_Pin)
{
	if (GPIO_Pin == ADIS_DR_Pin)
	{
		if (adisReady())
		{
			adisTriggerDMA();
		}
	}

	if (GPIO_Pin == LSM_INTMAG_Pin)
	{
		lsmTriggerDMA();

	}
	if (GPIO_Pin == MPU_INT_Pin)
	{
		if (mpuReady())
		{
			mpuTriggerDMA();
		}

	}
}

void HAL_I2C_MemRxCpltCallback(I2C_HandleTypeDef *hi2c)
{
	if (hi2c == &lsmI2C)
	{
		HAL_GPIO_WritePin(LED2_GPIO_Port, LED2_Pin, 1);
		lsmReleaseSemaphore();

	}
	if (hi2c == &mpuI2C)
	{
		mpuReleaseSemaphore();

	}

}

/* USER CODE END Application */
